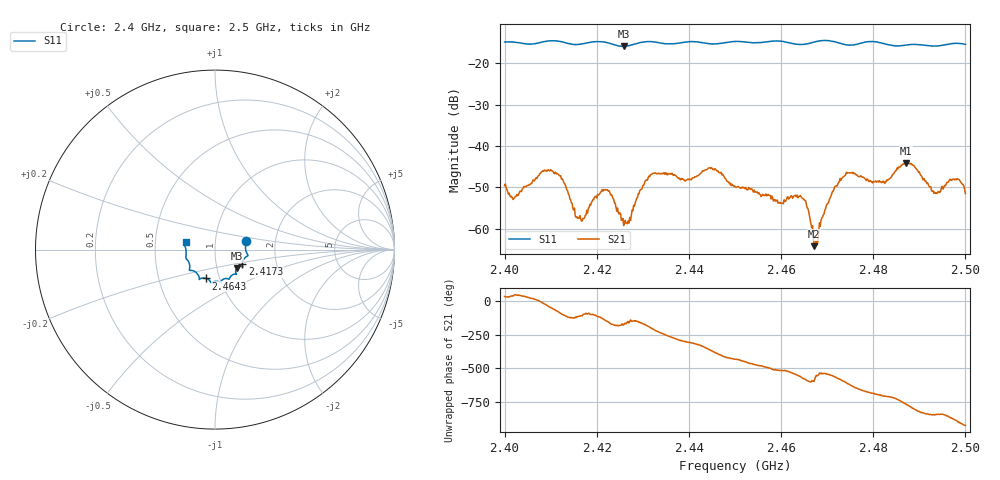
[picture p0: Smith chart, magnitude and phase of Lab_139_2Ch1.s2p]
# Hz S RI R 50
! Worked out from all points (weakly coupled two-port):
!   601 points, 2.4 GHz to 2.5 GHz, reference 50 ohm
!   highest |S21| = -44.09 dB at 2.4872 GHz (marker M1); lowest = -64.2 dB at 2.4672 GHz (marker M2)
!   lowest |S11| = -15.9 dB at 2.4258 GHz (marker M3), VSWR 1.38, Z = 62.3 - j13.2 ohm
!   |S11| at or under -10 dB: start of sweep to end of sweep
!   S12 and S22 are empty: the file has one direction only
!   S11 on the Smith chart (normalised r, x): 2.4 GHz: 1.41, +0.14; 2.4173 GHz: 1.34, -0.23; 2.4643 GHz: 0.86, -0.28; 2.5 GHz: 0.72, +0.06
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2.4e9  0.1734 0.0497  0.00282 0.00175  0 0  0 0
2.402e9  0.175 0.0415  0.00175 0.00151  0 0  0 0
2.41e9  0.1838 -0.0324  0.00336 -0.00393  0 0  0 0
2.4125e9  0.1771 -0.0378  -0.00074 -0.00394  0 0  0 0
2.416667e9  0.153 -0.0748  -0.000419 -0.00116  0 0  0 0
2.417333e9  0.1524 -0.0822  -0.000214 -0.00133  0 0  0 0
2.422e9  0.1515 -0.0944  -0.00247 -0.00158  0 0  0 0
2.425833e9  0.1215 -0.1037  -0.00109 -1.38e-05  0 0  0 0
2.430833e9  0.1192 -0.1382  -0.00389 0.000184  0 0  0 0
2.433333e9  0.1128 -0.1367  -0.00311 0.00348  0 0  0 0
2.444833e9  0.0566 -0.1615  0.0054 -0.00077  0 0  0 0
2.45e9  0.0296 -0.1807  0.00103 -0.00309  0 0  0 0
2.459833e9  -0.0234 -0.1833  -0.00191 -0.000829  0 0  0 0
2.464333e9  -0.0503 -0.1605  -0.00223 0.000955  0 0  0 0
2.466667e9  -0.0763 -0.1597  -0.000643 0.000795  0 0  0 0
2.467167e9  -0.0803 -0.1612  -0.000348 0.000506  0 0  0 0
2.474e9  -0.0976 -0.136  -0.00204 0.00394  0 0  0 0
2.483333e9  -0.1408 -0.0894  0.00385 0.000861  0 0  0 0
2.487167e9  -0.1564 -0.0554  0.00443 -0.0044  0 0  0 0
2.493167e9  -0.1607 -0.0117  -0.0014 -0.00229  0 0  0 0
2.497667e9  -0.1712 0.0301  -0.00365 -0.00134  0 0  0 0
2.5e9  -0.1637 0.0421  -0.00248 0.000969  0 0  0 0
